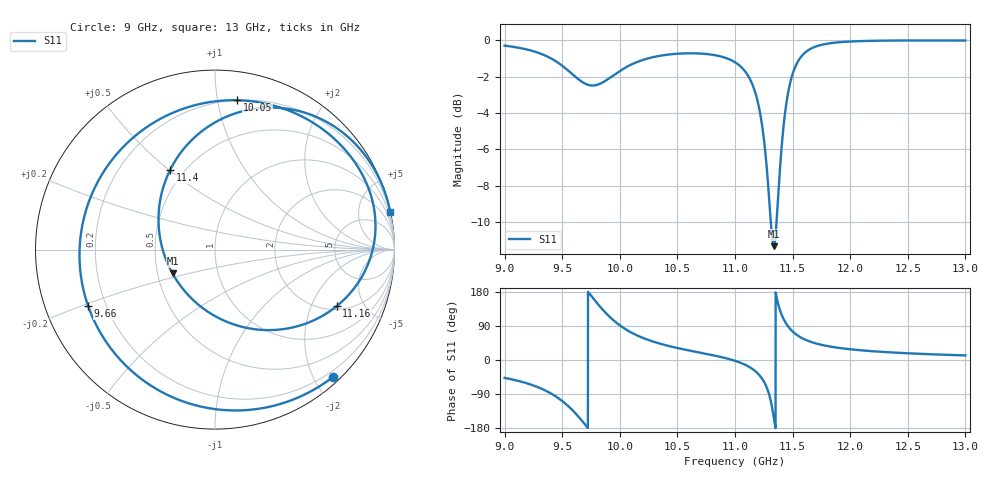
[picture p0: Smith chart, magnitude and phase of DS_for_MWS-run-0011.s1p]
! TOUCHSTONE file generated by CST DESIGN STUDIO
! Date and time: Tue Feb  4 14:35:56 2025
! Project name: C:\Work\MatlabApps\UnitCellOptimizationMatlab\CST\unitcell.cst
! Tree item: Tasks\Sweep1\SPara1\S-Parameters
! Header version: 2024
! Port assignment regex: !\s*Touchstone port\s*([0-9]+)\s*=\s*(CST MWS port|CST DES external port|CST DES block port)\s*(.+)\s* \(\"(.*)\"\)(\s*mode\s*([0-9]+))?.*
! Touchstone port assignment:
! Touchstone port 1 = CST DES external port 1 ("")
# GHz S MA R 50
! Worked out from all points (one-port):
!   4001 points, 9 GHz to 13 GHz, reference 50 ohm
!   lowest |S11| = -11.3 dB at 11.34 GHz (marker M1), VSWR 1.75, Z = 29.9 - j8.6 ohm
!   |S11| at or under -10 dB: 11.31087 GHz to 11.3605 GHz (49.64 MHz wide, 0.438 % of centre)
!   S11 on the Smith chart (normalised r, x): 9 GHz: 0.10, -2.29; 9.66 GHz: 0.13, -0.21; 10.05 GHz: 0.20, +1.14; 11.16 GHz: 2.17, -3.11; 11.4 GHz: 0.42, +0.51; 13 GHz: 0.05, +9.43
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9  0.9672 -47.1
9.27  0.9293 -69.5
9.401  0.8926 -88.1
9.5  0.8516 -108.2
9.58  0.8114 -129.6
9.66  0.7734 -156.1
9.725  0.7544 179.6
9.791  0.7528 154.4
9.893  0.7806 119.5
10  0.8234 91.5
10.048  0.8411 81.6
10.246  0.8921 53.1
10.5  0.9187 31.6
10.772  0.9156 14.8
11  0.8706 -2.1
11.157  0.7478 -24.9
11.264  0.4894 -64.6
11.3  0.3534 -95.0
11.336  0.2715 -150.6
11.37  0.3521 153.4
11.405  0.5102 119.3
11.449  0.6813 93.9
11.5  0.8079 75.4
11.581  0.9071 57.9
11.679  0.9555 45.8
12  0.9927 28.3
12.5  0.9992 17.7
13  0.9988 12.1
